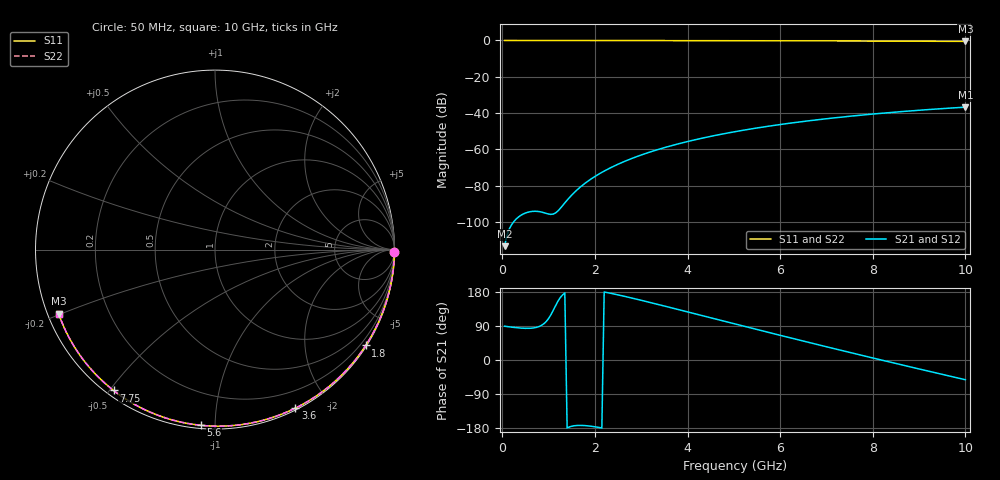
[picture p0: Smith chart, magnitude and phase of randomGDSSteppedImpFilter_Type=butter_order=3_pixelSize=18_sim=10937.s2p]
! freq	dB(S11)	phase(S11)	dB(S12)	phase(S12)
!  dB(S21)	phase(S21)	dB(S22)	phase(S22)
!S-par simulation data
#  GHz  S  DB  R 50
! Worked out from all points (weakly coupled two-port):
!   200 points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, 50 MHz to 10 GHz, reference 50 ohm
!   highest |S21| = -36.77 dB at 10 GHz (marker M1); lowest = -113.4 dB at 50 MHz (marker M2)
!   lowest |S11| = -0.5 dB at 10 GHz (marker M3), VSWR 33.18, Z = 1.57 - j9.84 ohm
!   |S11| at or under -10 dB: nowhere
!   |S22| runs from -0.5 to 0.0 dB; largest |S21 - S12| = 0
!   S11 on the Smith chart (normalised r, x): 50 MHz: open; 1.8 GHz: 0.03, -3.44; 3.6 GHz: 0.02, -1.63; 5.6 GHz: 0.02, -0.92; 7.75 GHz: 0.02, -0.51; 10 GHz: 0.03, -0.20
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0.05  -0.00 -0.9  -113.42 89.2  -113.42 89.2  -0.00 -0.9
0.45  -0.01 -8.2  -95.71 83.8  -95.71 83.8  -0.01 -8.2
0.85  -0.02 -15.5  -94.63 91.7  -94.63 91.7  -0.02 -15.5
1.7  -0.04 -30.7  -80.49 -172.6  -80.49 -172.6  -0.04 -30.7
1.75  -0.04 -31.6  -79.46 -172.8  -79.46 -172.8  -0.04 -31.6
1.8  -0.04 -32.4  -78.49 -173.2  -78.49 -173.2  -0.04 -32.4
1.95  -0.04 -35.1  -75.81 -175.3  -75.81 -175.3  -0.04 -35.1
2.1  -0.05 -37.7  -73.44 -178.2  -73.44 -178.2  -0.05 -37.7
2.3  -0.05 -41.2  -70.67 177.1  -70.67 177.1  -0.05 -41.2
2.5  -0.06 -44.6  -68.23 171.9  -68.23 171.9  -0.06 -44.6
2.9  -0.07 -51.4  -64.07 160.5  -64.07 160.5  -0.07 -51.4
3.4  -0.08 -59.8  -59.84 145.5  -59.84 145.5  -0.08 -59.8
3.6  -0.08 -63.1  -58.37 139.4  -58.37 139.4  -0.08 -63.1
4.3  -0.11 -74.4  -53.96 117.7  -53.96 117.7  -0.11 -74.4
5.05  -0.13 -86.2  -50.17 94.4  -50.17 94.4  -0.13 -86.2
5.6  -0.16 -94.6  -47.85 77.4  -47.85 77.4  -0.16 -94.6
6.15  -0.18 -102.7  -45.82 60.6  -45.82 60.6  -0.18 -102.7
6.7  -0.22 -110.8  -44.04 43.9  -44.04 43.9  -0.22 -110.8
7.75  -0.29 -125.8  -41.17 12.7  -41.17 12.7  -0.29 -125.8
8.35  -0.34 -134.3  -39.79 -4.9  -39.79 -4.9  -0.34 -134.3
9.2  -0.43 -146.3  -38.10 -29.4  -38.10 -29.4  -0.43 -146.3
10  -0.52 -157.7  -36.77 -52.1  -36.77 -52.1  -0.52 -157.7
